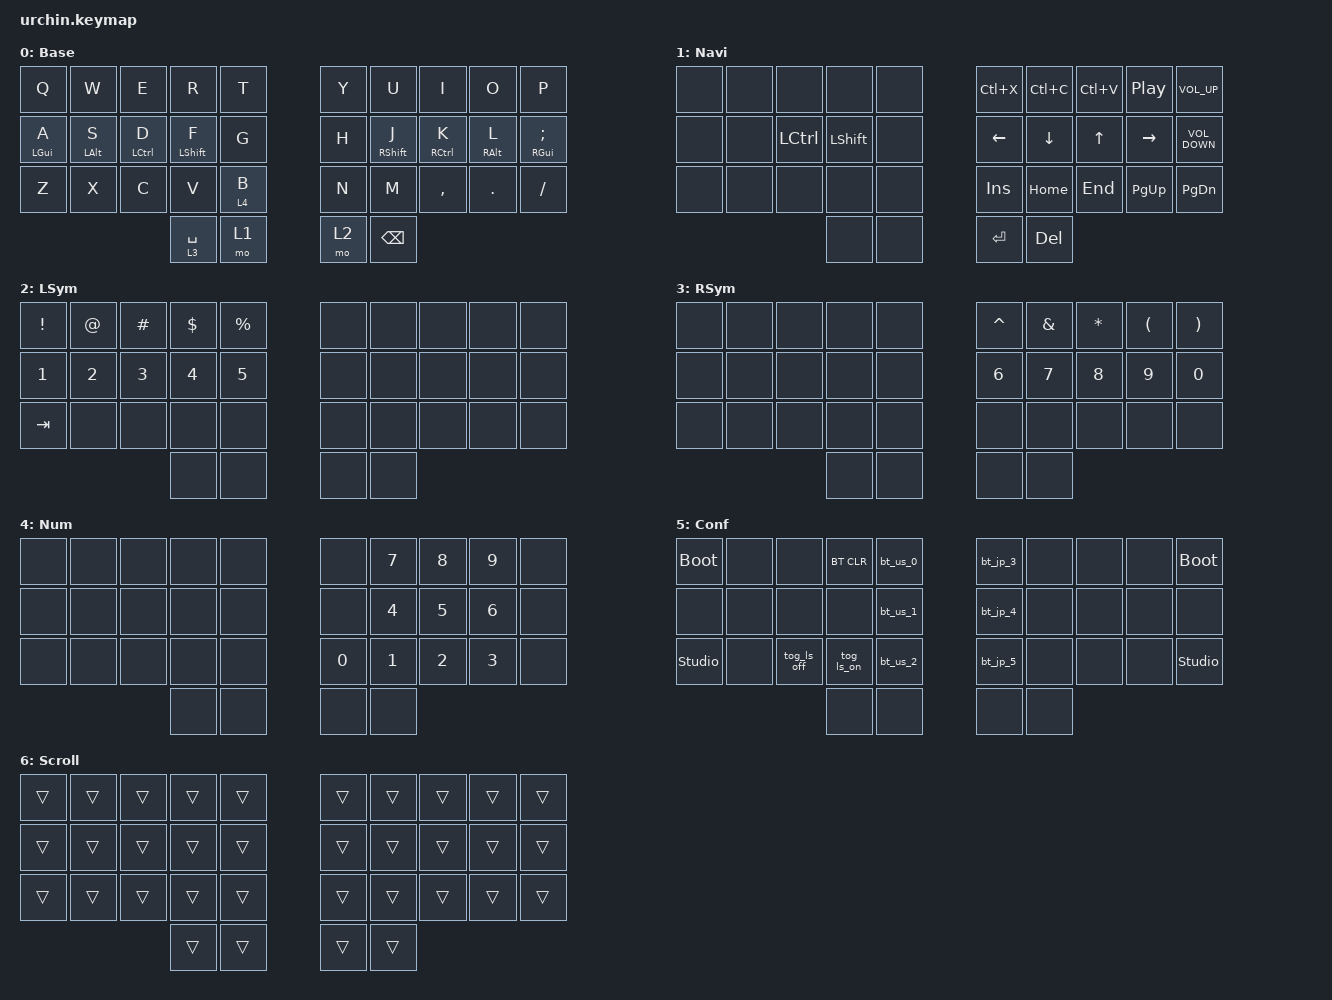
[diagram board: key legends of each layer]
/*
 * Copyright (c) 2020 duckyb
 *
 * SPDX-License-Identifier: MIT
 */

#include <behaviors.dtsi>
#include <dt-bindings/zmk/bt.h>
#include <dt-bindings/zmk/keys.h>
#include <layout_shift_kp_override.dtsi>
#include <dt-bindings/zmk/mouse.h>
#include <dt-bindings/zmk/pointing.h>
#include <input/processors.dtsi>

#define JP_UNDERSCORE   LS(0x87)          // _

// Config for timeless home-row mod

#define KEYS_L 0 1 2 3 4 10 11 12 13 14 20 21 22 23 24
#define KEYS_R 5 6 7 8 9 15 16 17 18 19 25 26 27 28 29
#define THUMBS 30 31 32 33

#define SCROLL 6

// -----------------
&trackball_listener {
    input-processors = <&zip_xy_scaler 1 1>;

    scroller {
        layers = <SCROLL>;
        input-processors = <&zip_xy_to_scroll_mapper>;
    };
};

/ {
    behaviors {
        hml: home_row_mod_left {
            compatible = "zmk,behavior-hold-tap";
            #binding-cells = <2>;
            flavor = "balanced";
            require-prior-idle-ms = <100>;
            tapping-term-ms = <280>;
            quick-tap-ms = <175>;
            bindings = <&kp>, <&kp>;

            hold-trigger-key-positions = <KEYS_R THUMBS>; // List of keys on the right side of the keyboard
            hold-trigger-on-release;
        };

        hmr: home_row_mod_right {
            compatible = "zmk,behavior-hold-tap";
            #binding-cells = <2>;
            flavor = "balanced";
            require-prior-idle-ms = <100>;
            tapping-term-ms = <280>;
            quick-tap-ms = <175>;
            bindings = <&kp>, <&kp>;

            hold-trigger-key-positions = <KEYS_L THUMBS>; // List of keys on the left side of the keyboard
            hold-trigger-on-release;
        };
    };

    macros {
        bt_us_0: bt_us_0 {
            compatible = "zmk,behavior-macro";
            #binding-cells = <0>;
            bindings = <&tog_ls_off &bt BT_SEL 0>;
        };

        bt_us_1: bt_us_1 {
            compatible = "zmk,behavior-macro";
            #binding-cells = <0>;
            bindings = <&tog_ls_off &bt BT_SEL 1>;
        };

        bt_us_2: bt_us_2 {
            compatible = "zmk,behavior-macro";
            #binding-cells = <0>;
            bindings = <&tog_ls_off &bt BT_SEL 2>;
        };

        bt_jp_3: bt_jp_3 {
            compatible = "zmk,behavior-macro";
            #binding-cells = <0>;
            bindings = <&tog_ls_on &bt BT_SEL 3>;
        };

        bt_jp_4: bt_jp_4 {
            compatible = "zmk,behavior-macro";
            #binding-cells = <0>;
            bindings = <&tog_ls_on &bt BT_SEL 4>;
        };

        bt_jp_5: bt_jp_5 {
            compatible = "zmk,behavior-macro";
            #binding-cells = <0>;
            bindings = <&tog_ls_on &bt BT_SEL 5>;
        };
    };

    combos {
        compatible = "zmk,combos";

        mo_Setting {
            timeout-ms = <200>;
            key-positions = <30 31>;
            bindings = <&mo 5>;
            layers = <0>;
        };

        kp_Tilde {
            bindings = <&kp LS(GRAVE)>;
            key-positions = <10 11>;
            layers = <0>;
        };

        kp_Grave {
            bindings = <&kp GRAVE>;
            key-positions = <20 21>;
            layers = <0>;
        };

        kp_Escape {
            bindings = <&kp ESCAPE>;
            key-positions = <0 1>;
            layers = <0>;
        };

        kp_Aposthrophe {
            bindings = <&kp APOS>;
            key-positions = <28 29>;
            layers = <0>;
        };

        kp_DoubleQuote {
            bindings = <&kp LS(APOSTROPHE)>;
            key-positions = <18 19>;
            layers = <0>;
        };

        kp_LeftParenthesis {
            bindings = <&kp LEFT_PARENTHESIS>;
            key-positions = <2 3>;
            layers = <0>;
        };

        kp_LeftBrace {
            bindings = <&kp LEFT_BRACE>;
            key-positions = <12 13>;
            layers = <0>;
        };

        kp_LeftBracket {
            bindings = <&kp LEFT_BRACKET>;
            key-positions = <22 23>;
            layers = <0>;
        };

        kp_RightParenthesis {
            bindings = <&kp RIGHT_PARENTHESIS>;
            key-positions = <6 7>;
            layers = <0>;
        };

        kp_RightBrace {
            bindings = <&kp RIGHT_BRACE>;
            key-positions = <16 17>;
            layers = <0>;
        };

        kp_RightBracket {
            bindings = <&kp RIGHT_BRACKET>;
            key-positions = <26 27>;
            layers = <0>;
        };

        kp_Equal {
            bindings = <&kp EQUAL>;
            key-positions = <27 28>;
            layers = <0>;
        };

        kp_Plus {
            bindings = <&kp LS(EQUAL)>;
            key-positions = <17 18>;
            layers = <0>;
        };

        kp_Minus {
            bindings = <&kp MINUS>;
            key-positions = <25 26>;
            layers = <0>;
        };

        kp_Underscore {
            bindings = <&kp LS(MINUS)>;
            key-positions = <15 16>;
            layers = <0>;
        };

        kp_BackSlash {
            bindings = <&kp BACKSLASH>;
            key-positions = <26 28>;
            layers = <0>;
        };

        kp_Pipe {
            bindings = <&kp LS(BACKSLASH)>;
            key-positions = <16 18>;
            layers = <0>;
        };

        CapsWord {
            bindings = <&caps_word>;
            key-positions = <13 16>;
            layers = <0>;
        };

        kp_JisUnderscore {
            bindings = <&kp JP_UNDERSCORE>;
            key-positions = <15 16>;
            layers = <3>;
        };

        mkp_LeftClick {
            bindings = <&mkp LCLK>;
            key-positions = <13 14>;
            timeout-ms = <50>;
            layers = <0>;
        };

        mo_Scroll {
            timeout-ms = <50>;
            key-positions = <23 24>;
            bindings = <&mo SCROLL>;
            layers = <0>;
        };

        // left index & middle fingers (home-row)
        // hold control & space for Adobe workflow
    };

    keymap {
        compatible = "zmk,keymap";

        Base {
            label = "Base";
            bindings = <
&kp Q            &kp W            &kp E                &kp R              &kp T    &kp Y  &kp U               &kp I                 &kp O             &kp P
&hml LEFT_GUI A  &hml LEFT_ALT S  &hml LEFT_CONTROL D  &hml LEFT_SHIFT F  &kp G    &kp H  &hmr RIGHT_SHIFT J  &hmr RIGHT_CONTROL K  &hmr RIGHT_ALT L  &hmr RIGHT_GUI SEMI
&kp Z            &kp X            &kp C                &kp V              &lt 4 B  &kp N  &kp M               &kp COMMA             &kp DOT           &kp SLASH
                                                       &lt 3 SPACE        &mo 1    &mo 2  &kp BACKSPACE
            >;
        };

        Navi {
            label = "Navi";
            bindings = <
&none  &none  &none      &none           &none  &kp LC(X)       &kp LC(C)       &kp LC(V)     &kp C_PLAY_PAUSE  &kp C_VOLUME_UP
&none  &none  &kp LCTRL  &kp LEFT_SHIFT  &none  &kp LEFT_ARROW  &kp DOWN_ARROW  &kp UP_ARROW  &kp RIGHT_ARROW   &kp C_VOLUME_DOWN
&none  &none  &none      &none           &none  &kp INSERT      &kp HOME        &kp END       &kp PAGE_UP       &kp PAGE_DOWN
                         &none           &none  &kp RETURN      &kp DELETE
            >;
        };

        LSym {
            bindings = <
&kp EXCL      &kp AT        &kp POUND     &kp DOLLAR    &kp PERCENT   &none  &none  &none  &none  &none
&kp NUMBER_1  &kp NUMBER_2  &kp NUMBER_3  &kp NUMBER_4  &kp NUMBER_5  &none  &none  &none  &none  &none
&kp TAB       &none         &none         &none         &none         &none  &none  &none  &none  &none
                                          &none         &none         &none  &none
            >;

            label = "LSym";
        };

        RSym {
            bindings = <
&none  &none  &none  &none  &none  &kp CARET     &kp AMPERSAND  &kp ASTERISK  &kp LEFT_PARENTHESIS  &kp RIGHT_PARENTHESIS
&none  &none  &none  &none  &none  &kp NUMBER_6  &kp NUMBER_7   &kp NUMBER_8  &kp NUMBER_9          &kp NUMBER_0
&none  &none  &none  &none  &none  &none         &none          &none         &none                 &none
                     &none  &none  &none         &none
            >;

            label = "RSym";
        };

        Num {
            label = "Num";
            bindings = <
&none  &none  &none  &none  &none  &none         &kp NUMBER_7  &kp NUMBER_8  &kp NUMBER_9  &none
&none  &none  &none  &none  &none  &none         &kp NUMBER_4  &kp NUMBER_5  &kp NUMBER_6  &none
&none  &none  &none  &none  &none  &kp NUMBER_0  &kp NUMBER_1  &kp NUMBER_2  &kp NUMBER_3  &none
                     &none  &none  &none         &none
            >;
        };

        Setting {
            label = "Conf";
            bindings = <
&bootloader     &none  &none  &bt BT_CLR  &bt_us_0  &bt_jp_3  &none  &none  &none  &bootloader
&none           &none  &none  &none       &bt_us_1  &bt_jp_4  &none  &none  &none  &none
&studio_unlock  &none  &tog_ls_off  &tog_ls_on       &bt_us_2  &bt_jp_5  &none  &none  &none  &studio_unlock
                              &none       &none         &none         &none
            >;
        };

        Scroll {
            label = "Scroll";
            bindings = <
&trans  &trans  &trans  &trans  &trans  &trans  &trans  &trans  &trans  &trans
&trans  &trans  &trans  &trans  &trans  &trans  &trans  &trans  &trans  &trans
&trans  &trans  &trans  &trans  &trans  &trans  &trans  &trans  &trans  &trans
                        &trans  &trans  &trans  &trans
            >;
        };

    };
};
